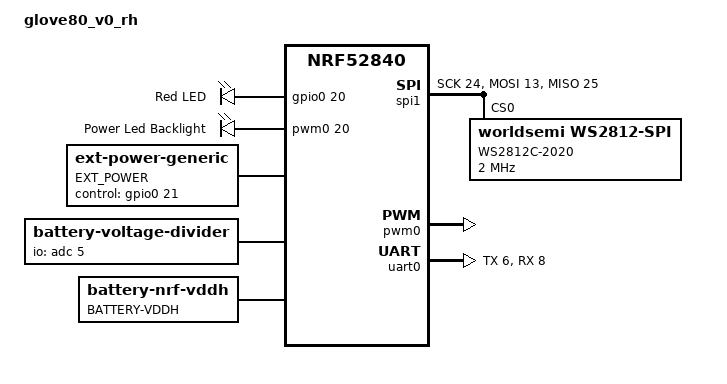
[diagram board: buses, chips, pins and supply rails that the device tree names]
/*
 * Copyright (c) 2021 The ZMK Contributors
 *
 * SPDX-License-Identifier: MIT
 */

/dts-v1/;
#include <nordic/nrf52840_qiaa.dtsi>
#include <dt-bindings/led/led.h>
#include "glove80_v0.dtsi"

/ {
	model = "glove80_v0_rh";
	compatible = "glove80_v0_rh";

	chosen {
		zmk,underglow = &led_strip;
        zmk,backlight = &power_led_backlight;
		zmk,battery   = &vbatt;
	};

	leds {
		compatible = "gpio-leds";
		red_led: led_0 {
			gpios = <&gpio0 20 GPIO_ACTIVE_HIGH>;
			label = "Red LED";
		};
	};

	power_led_backlight: pwmleds {
		compatible = "pwm-leds";
		label = "Backlight LEDs";
		pwm_led_0 {
			pwms = <&pwm0 20>;
			label = "Power Led Backlight";
		};
	};

	ext-power {
		compatible = "zmk,ext-power-generic";
		label = "EXT_POWER";
		control-gpios = <&gpio0 21 GPIO_ACTIVE_HIGH>; /**[SC] WS2812_CE */
		init-delay-ms = <10>;
	};

	vbatt: vbatt-divider {
		compatible = "zmk,battery-voltage-divider";
		label = "BATTERY";
		io-channels = <&adc 5>;
		output-ohms = <820000>; /** Double check that this is right */
		full-ohms = <(1500000 + 820000)>;
	};

	vbatt-vddh {
		compatible = "zmk,battery-nrf-vddh";
		label = "BATTERY-VDDH";
	};
};

&spi1 {
	compatible = "nordic,nrf-spim";
	/* Cannot be used together with i2c0. */
	status = "okay";
	mosi-pin = <13>;
	// Unused pins, needed for SPI definition, but not used by the ws2812 driver itself.
	sck-pin = <24>; // NC
	miso-pin = <25>; // NC

	led_strip: ws2812@0 {
		compatible = "worldsemi,ws2812-spi";
		label = "WS2812C-2020";

		/* SPI */
		reg = <0>; /* ignored, but necessary for SPI bindings */
		spi-max-frequency = <2000000>;

		/* WS2812 */
		chain-length = <40>;
		spi-one-frame = <0x70>;
		spi-zero-frame = <0x40>;

		color-mapping = <LED_COLOR_ID_GREEN LED_COLOR_ID_RED LED_COLOR_ID_BLUE>;
	};
};

&pwm0 {
	status = "okay";
	ch0-pin = <20>; /* 32 * 0 + 20 */
};

// [SC] Not sure if this section is necessary
&uart0 {
	compatible = "nordic,nrf-uarte";
	tx-pin = <6>;
	rx-pin = <8>;
};

&default_transform {
	col-offset = <7>;
};

&kscan0 {
	row-gpios
		= <&gpio0 26 GPIO_ACTIVE_HIGH> // RH ROW1
		, <&gpio0 5 GPIO_ACTIVE_HIGH> // RH ROW2
		, <&gpio0 7 GPIO_ACTIVE_HIGH> // RH ROW3
		, <&gpio1 8 GPIO_ACTIVE_HIGH> // RH ROW4
		, <&gpio0 11 GPIO_ACTIVE_HIGH> // RH ROW5
		, <&gpio0 12 GPIO_ACTIVE_HIGH> // RH ROW6
		;
	col-gpios
		= <&gpio0 2 (GPIO_ACTIVE_HIGH | GPIO_PULL_DOWN)> // RH Thumb
		, <&gpio1 4 (GPIO_ACTIVE_HIGH | GPIO_PULL_DOWN)> // RH COL1
		, <&gpio1 6 (GPIO_ACTIVE_HIGH | GPIO_PULL_DOWN)> // RH COL2
		, <&gpio1 7 (GPIO_ACTIVE_HIGH | GPIO_PULL_DOWN)> // RH COL3
		, <&gpio1 5 (GPIO_ACTIVE_HIGH | GPIO_PULL_DOWN)> // RH COL4
		, <&gpio1 3 (GPIO_ACTIVE_HIGH | GPIO_PULL_DOWN)> // RH COL5
		, <&gpio1 1 (GPIO_ACTIVE_HIGH | GPIO_PULL_DOWN)> // RH COL6
		;
};
